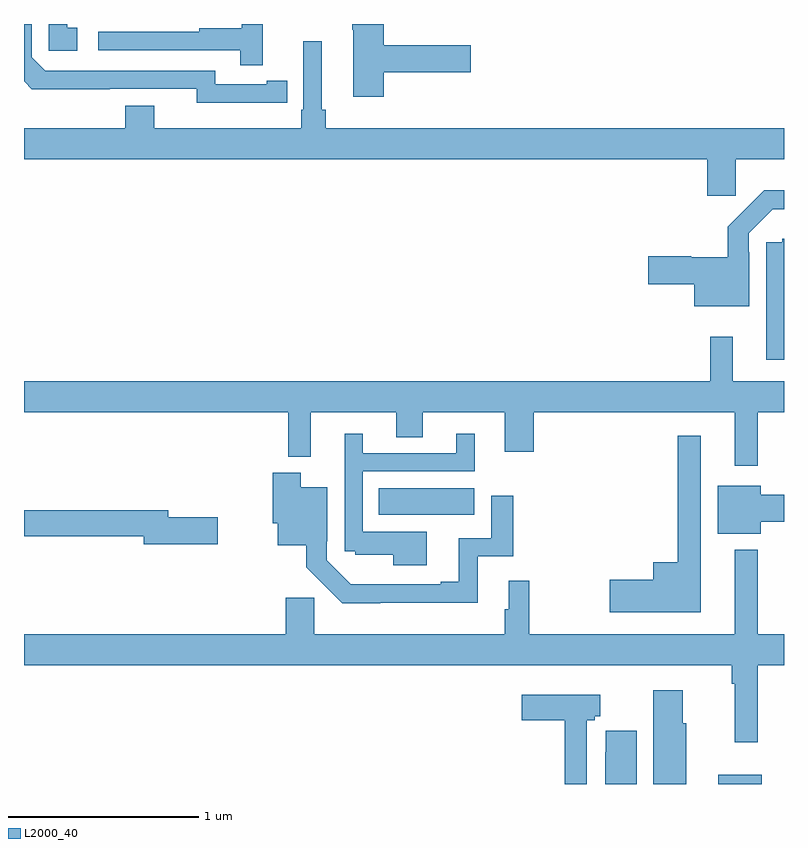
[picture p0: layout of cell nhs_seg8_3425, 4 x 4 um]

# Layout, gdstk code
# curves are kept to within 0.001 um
import gdstk
lib = gdstk.Library(unit=1e-6, precision=1e-09)
def R(c, l, rs):  # rectangles x0, y0, x1, y1
    for r in rs: c.add(gdstk.rectangle(r[:2], r[2:], *l))
def P(c, l, *ps):  # polygons
    for p in ps: c.add(gdstk.Polygon(p, *l))
L2000_40 = (2000, 40)

nhs_seg8_3425 = lib.new_cell('nhs_seg8_3425')
R(nhs_seg8_3425, L2000_40, [(326.654,1091.9,326.884,1091.95), (324.868,1093.316,325.369,1093.456)])
P(nhs_seg8_3425, L2000_40, [(324.257,1095.9),(324.147,1095.9),(324.147,1095.878),(323.923,1095.878),(323.923,1095.858),(323.391,1095.858),(323.391,1095.762),(324.139,1095.762),(324.139,1095.684),(324.257,1095.684)],
  [(324.893,1095.646),(325.351,1095.646),(325.351,1095.788),(324.893,1095.788),(324.893,1095.9),(324.727,1095.9),(324.727,1095.871),(324.734,1095.871),(324.734,1095.516),(324.893,1095.516)],
  [(323.281,1095.879),(323.228,1095.879),(323.228,1095.9),(323.13,1095.9),(323.13,1095.759),(323.281,1095.759)],
  [(324.278,1095.486),(324.386,1095.486),(324.386,1095.602),(324.278,1095.602),(324.278,1095.582),(324.006,1095.582),(324.006,1095.654),(323.112,1095.654),(323.04,1095.726),(323.04,1095.9),(323,1095.9),(323,1095.599),(323.042,1095.557),(323.91,1095.558),(323.91,1095.485)],
  [(326.747,1095.188),(327,1095.188),(327,1095.352),(324.587,1095.352),(324.587,1095.448),(324.568,1095.448),(324.568,1095.808),(324.471,1095.808),(324.471,1095.448),(324.458,1095.448),(324.458,1095.352),(323.686,1095.352),(323.686,1095.469),(323.534,1095.469),(323.534,1095.352),(323,1095.352),(323,1095.188),(326.597,1095.188),(326.597,1094.997),(326.747,1094.997)],
  [(326.817,1094.699),(326.814,1094.699),(326.814,1094.799),(326.94,1094.925),(327,1094.925),(327,1095.025),(326.896,1095.025),(326.705,1094.834),(326.705,1094.673),(326.511,1094.673),(326.511,1094.678),(326.286,1094.678),(326.286,1094.531),(326.528,1094.531),(326.528,1094.414),(326.817,1094.414)],
  [(327,1094.77),(326.991,1094.77),(326.991,1094.751),(326.907,1094.751),(326.907,1094.133),(327,1094.133)],
  [(326.863,1093.856),(327,1093.856),(327,1094.02),(326.729,1094.02),(326.729,1094.254),(326.611,1094.254),(326.611,1094.02),(323,1094.02),(323,1093.856),(324.391,1093.856),(324.391,1093.623),(324.509,1093.623),(324.509,1093.856),(324.959,1093.856),(324.959,1093.726),(325.099,1093.726),(325.099,1093.856),(325.529,1093.856),(325.529,1093.65),(325.682,1093.65),(325.682,1093.856),(326.741,1093.856),(326.741,1093.575),(326.863,1093.575)],
  [(325.12,1093.228),(324.783,1093.228),(324.783,1093.545),(325.372,1093.545),(325.372,1093.744),(325.274,1093.744),(325.274,1093.641),(324.784,1093.641),(324.784,1093.744),(324.687,1093.744),(324.687,1093.125),(324.744,1093.125),(324.744,1093.106),(324.944,1093.106),(324.944,1093.052),(325.12,1093.052)],
  [(326.563,1093.732),(326.442,1093.732),(326.442,1093.066),(326.312,1093.066),(326.312,1092.974),(326.082,1092.974),(326.082,1092.803),(326.563,1092.803)],
  [(324.875,1092.854),(325.387,1092.854),(325.387,1093.098),(325.574,1093.098),(325.574,1093.417),(325.458,1093.417),(325.458,1093.194),(325.289,1093.194),(325.289,1092.964),(325.193,1092.964),(325.193,1092.951),(324.72,1092.952),(324.594,1093.077),(324.594,1093.177),(324.597,1093.177),(324.597,1093.462),(324.457,1093.462),(324.457,1093.537),(324.308,1093.537),(324.308,1093.272),(324.335,1093.272),(324.335,1093.157),(324.486,1093.157),(324.486,1093.041),(324.676,1092.852),(324.875,1092.852)],
  [(326.878,1093.28),(327,1093.28),(327,1093.422),(326.878,1093.422),(326.878,1093.471),(326.651,1093.471),(326.651,1093.217),(326.878,1093.217)],
  [(324.019,1093.304),(323.758,1093.304),(323.758,1093.34),(323,1093.34),(323,1093.204),(323.63,1093.204),(323.63,1093.162),(324.019,1093.162)],
  [(326.861,1092.524),(327,1092.524),(327,1092.688),(326.863,1092.688),(326.863,1093.132),(326.741,1093.132),(326.741,1092.688),(325.66,1092.688),(325.66,1092.97),(325.55,1092.97),(325.55,1092.821),(325.531,1092.821),(325.531,1092.688),(324.527,1092.688),(324.527,1092.879),(324.377,1092.879),(324.377,1092.688),(323,1092.688),(323,1092.524),(326.725,1092.524),(326.725,1092.428),(326.74,1092.428),(326.74,1092.12),(326.861,1092.12)],
  [(326.485,1092.219),(326.467,1092.219),(326.467,1092.394),(326.312,1092.394),(326.312,1091.9),(326.485,1091.9)],
  [(325.962,1092.236),(326.004,1092.236),(326.004,1092.256),(326.033,1092.256),(326.033,1092.37),(325.62,1092.37),(325.62,1092.236),(325.846,1092.236),(325.846,1091.9),(325.962,1091.9)],
  [(326.224,1092.181),(326.063,1092.181),(326.063,1092.068),(326.06,1092.068),(326.06,1091.9),(326.224,1091.9)])

lib.write_gds('nhs_seg8_3425.gds')
